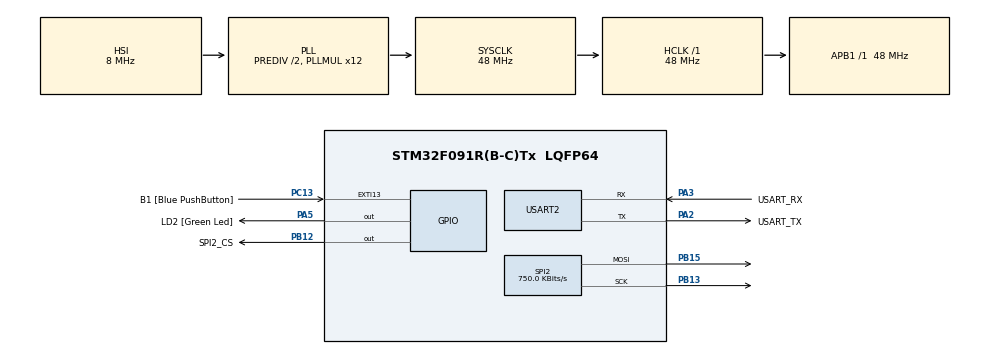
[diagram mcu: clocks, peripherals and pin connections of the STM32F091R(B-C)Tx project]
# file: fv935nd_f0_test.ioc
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Mcu.Family=STM32F0
Mcu.Name=STM32F091R(B-C)Tx
Mcu.Package=LQFP64
NVIC.TIM14_IRQn=true\:0\:0\:false\:false\:true\:true\:true\:true
PA13.GPIO_Label=TMS
PA13.Mode=Serial_Wire
PA13.Signal=SYS_SWDIO
PA14.GPIO_Label=TCK
PA14.Mode=Serial_Wire
PA14.Signal=SYS_SWCLK
PA2.GPIO_Label=USART_TX
PA2.GPIO_Mode=GPIO_MODE_AF_PP
PA2.GPIO_PuPd=GPIO_NOPULL
PA2.GPIO_Speed=GPIO_SPEED_FREQ_LOW
PA2.Mode=Asynchronous
PA2.Signal=USART2_TX
PA3.GPIO_Label=USART_RX
PA3.GPIO_Mode=GPIO_MODE_AF_PP
PA3.GPIO_PuPd=GPIO_NOPULL
PA3.GPIO_Speed=GPIO_SPEED_FREQ_LOW
PA3.Mode=Asynchronous
PA3.Signal=USART2_RX
PA5.GPIO_Label=LD2 [Green Led]
PA5.GPIO_Mode=GPIO_MODE_OUTPUT_PP
PA5.GPIO_PuPd=GPIO_NOPULL
PA5.GPIO_Speed=GPIO_SPEED_FREQ_LOW
PA5.Signal=GPIO_Output
PB12.GPIO_Label=SPI2_CS
PB12.GPIO_Speed=GPIO_SPEED_FREQ_HIGH
PB12.PinState=GPIO_PIN_SET
PB12.Signal=GPIO_Output
PB13.Mode=TX_Only_Simplex_Unidirect_Master
PB13.Signal=SPI2_SCK
PB15.Mode=TX_Only_Simplex_Unidirect_Master
PB15.Signal=SPI2_MOSI
PC13.GPIO_Label=B1 [Blue PushButton]
PC13.GPIO_ModeDefaultEXTI=GPIO_MODE_IT_FALLING
PC13.Signal=GPXTI13
PC14OSC32_IN.Mode=LSE-External-Oscillator
PC14OSC32_IN.Signal=RCC_OSC32_IN
PC15OSC32_OUT.Mode=LSE-External-Oscillator
PC15OSC32_OUT.Signal=RCC_OSC32_OUT
PF0-OSC_IN.Mode=HSE-External-Clock-Source
PF0-OSC_IN.Signal=RCC_OSC_IN
PF1-OSC_OUT.Signal=RCC_OSC_OUT
ProjectManager.HeapSize=0x200
ProjectManager.StackSize=0x400
ProjectManager.TargetToolchain=STM32CubeIDE
RCC.AHBFreq_Value=48000000
RCC.APB1Freq_Value=48000000
RCC.APB1TimFreq_Value=48000000
RCC.FLatency-AdvancedSettings=FLASH_LATENCY_1
RCC.HCLKFreq_Value=48000000
RCC.PLLDivider=RCC_PREDIV_DIV2
RCC.PLLMUL=RCC_PLL_MUL12
RCC.PREFETCH_ENABLE-AdvancedSettings=1
RCC.SYSCLKFreq_VALUE=48000000
RCC.SYSCLKSource=RCC_SYSCLKSOURCE_PLLCLK
SPI2.BaudRatePrescaler=SPI_BAUDRATEPRESCALER_64
SPI2.CLKPhase=SPI_PHASE_2EDGE
SPI2.CLKPolarity=SPI_POLARITY_HIGH
SPI2.CalculateBaudRate=750.0 KBits/s
SPI2.DataSize=SPI_DATASIZE_8BIT
SPI2.Direction=SPI_DIRECTION_2LINES
SPI2.FirstBit=SPI_FIRSTBIT_LSB
SPI2.Mode=SPI_MODE_MASTER
SPI2.VirtualType=VM_MASTER
TIM14.AutoReloadPreload=TIM_AUTORELOAD_PRELOAD_ENABLE
TIM14.Period=53333-1
TIM14.Prescaler=450-1
USART2.VirtualMode=VM_ASYNC
USART2.VirtualMode-Asynchronous=VM_ASYNC
VP_TIM14_VS_ClockSourceINT.Mode=Enable_Timer
board=NUCLEO-F091RC

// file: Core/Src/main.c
/* USER CODE BEGIN Header */
/**
  ******************************************************************************
  * @file           : main.c
  * @brief          : Main program body
  ******************************************************************************
  * @attention
  *
  * Copyright (c) 2024 STMicroelectronics.
  * All rights reserved.
  *
  * This software is licensed under terms that can be found in the LICENSE file
  * in the root directory of this software component.
  * If no LICENSE file comes with this software, it is provided AS-IS.
  *
  ******************************************************************************
  */
/* USER CODE END Header */
#include "main.h"

/* USER CODE BEGIN Includes */
#include <string.h>

#include "cs16312.h"
#include "fv935nd.h"
/* USER CODE END Includes */

/* USER CODE BEGIN PM */
#define SYSTICK_LOAD (SystemCoreClock/1000000U)
#define SYSTICK_DELAY_CALIB (SYSTICK_LOAD >> 1)

#define DELAY_US(us) \
    do { \
         uint32_t start = SysTick->VAL; \
         uint32_t ticks = (us * SYSTICK_LOAD)-SYSTICK_DELAY_CALIB;  \
         while((start - SysTick->VAL) < ticks); \
    } while (0)
/* USER CODE END PM */

SPI_HandleTypeDef hspi2;

TIM_HandleTypeDef htim14;

UART_HandleTypeDef huart2;

/* USER CODE BEGIN PV */
static uint8_t display_buffer[CS16312_RAM_SIZE];
/* USER CODE END PV */

void SystemClock_Config(void);
static void MX_GPIO_Init(void);
static void MX_USART2_UART_Init(void);
static void MX_SPI2_Init(void);
static void MX_TIM14_Init(void);

/* USER CODE BEGIN 0 */
static void vfd_serial_spi2_prepare_write()
{
  DELAY_US(1);
  HAL_GPIO_WritePin(SPI2_CS_GPIO_Port, SPI2_CS_Pin, GPIO_PIN_RESET);
}

static void vfd_serial_spi2_finish_write()
{
  HAL_GPIO_WritePin(SPI2_CS_GPIO_Port, SPI2_CS_Pin, GPIO_PIN_SET);
  DELAY_US(1);
}

static void vfd_serial_spi2_write_byte(uint8_t byte)
{
  HAL_SPI_Transmit(&hspi2, &byte, 1, 2);
}

static const vfd_serial vfd_serial_spi2 = {
    .prepare_write = &vfd_serial_spi2_prepare_write,
    .finish_write = &vfd_serial_spi2_finish_write,
    .write_byte = &vfd_serial_spi2_write_byte,
};

static const vfd_controller cs16312 = {
    .serial = &vfd_serial_spi2,
    .max_digits = CS16312_MAX_DIGS,
    .max_segments = CS16312_MAX_SEGS,
};

static const vfd_display fv935nd = {
    .pinout = &fv935nd_pinout,
    .controller = &cs16312,
    .font = &fv935nd_font,
};
/* USER CODE END 0 */

int main(void)
{

  /* MCU Configuration--------------------------------------------------------*/

  /* Reset of all peripherals, Initializes the Flash interface and the Systick. */
  HAL_Init();

  /* Configure the system clock */
  SystemClock_Config();

  /* USER CODE BEGIN SysInit */
  HAL_Delay(200);
  /* USER CODE END SysInit */

  /* Initialize all configured peripherals */
  MX_GPIO_Init();
  MX_USART2_UART_Init();
  MX_SPI2_Init();
  MX_TIM14_Init();
  /* USER CODE BEGIN 2 */
  HAL_TIM_Base_Start_IT(&htim14);
  vfd_common_init(&cs16312, CS16312_MODE_8_DIG_14SEG);
  /* USER CODE END 2 */

  /* Infinite loop */
  /* USER CODE BEGIN WHILE */
  while (1)
  {
      for (int i = 0; i < 3; i++) {
  	memset(display_buffer, 0xFF, sizeof(display_buffer));
  	vfd_write_data(&cs16312, 0x00, display_buffer, sizeof(display_buffer));
  	HAL_Delay(500);
  	memset(display_buffer, 0x00, sizeof(display_buffer));
  	vfd_write_data(&cs16312, 0x00, display_buffer, sizeof(display_buffer));
  	HAL_Delay(500);
      }
      // t3
      for (int d = 1; d <= fv935nd.pinout->grids_count; d++) {
  	for (int s = 0; s < fv935nd.pinout->segments_count; s++) {
  	    memset(display_buffer, 0, sizeof(display_buffer));
  	    vfd_write_segments(&fv935nd, d, 1 << s, display_buffer, sizeof(display_buffer));
  	    vfd_write_data(&cs16312, 0x00, display_buffer, sizeof(display_buffer));
  	    HAL_Delay(150);
  	}
      }
      // chars
      for (int i = 0; i < fv935nd.font->chars_count; i++) {
  	for (int d = 1; d <= fv935nd.pinout->grids_count; d++) {
  	    vfd_write_char(&fv935nd, d, fv935nd.font->supported_chars[i],
			   display_buffer, sizeof(display_buffer));
  	}
  	vfd_write_data(&cs16312, 0x00, display_buffer, sizeof(display_buffer));
  	HAL_Delay(250);
      }
    /* USER CODE END WHILE */

  }
}

void SystemClock_Config(void)
{
  RCC_OscInitTypeDef RCC_OscInitStruct = {0};
  RCC_ClkInitTypeDef RCC_ClkInitStruct = {0};
  RCC_PeriphCLKInitTypeDef PeriphClkInit = {0};

  /** Initializes the RCC Oscillators according to the specified parameters
  * in the RCC_OscInitTypeDef structure.
  */
  RCC_OscInitStruct.OscillatorType = RCC_OSCILLATORTYPE_HSI;
  RCC_OscInitStruct.HSIState = RCC_HSI_ON;
  RCC_OscInitStruct.HSICalibrationValue = RCC_HSICALIBRATION_DEFAULT;
  RCC_OscInitStruct.PLL.PLLState = RCC_PLL_ON;
  RCC_OscInitStruct.PLL.PLLSource = RCC_PLLSOURCE_HSI;
  RCC_OscInitStruct.PLL.PLLMUL = RCC_PLL_MUL12;
  RCC_OscInitStruct.PLL.PREDIV = RCC_PREDIV_DIV2;
  if (HAL_RCC_OscConfig(&RCC_OscInitStruct) != HAL_OK)
  {
    Error_Handler();
  }

  /** Initializes the CPU, AHB and APB buses clocks
  */
  RCC_ClkInitStruct.ClockType = RCC_CLOCKTYPE_HCLK|RCC_CLOCKTYPE_SYSCLK
                              |RCC_CLOCKTYPE_PCLK1;
  RCC_ClkInitStruct.SYSCLKSource = RCC_SYSCLKSOURCE_PLLCLK;
  RCC_ClkInitStruct.AHBCLKDivider = RCC_SYSCLK_DIV1;
  RCC_ClkInitStruct.APB1CLKDivider = RCC_HCLK_DIV1;

  if (HAL_RCC_ClockConfig(&RCC_ClkInitStruct, FLASH_LATENCY_1) != HAL_OK)
  {
    Error_Handler();
  }
  PeriphClkInit.PeriphClockSelection = RCC_PERIPHCLK_USART2;
  PeriphClkInit.Usart2ClockSelection = RCC_USART2CLKSOURCE_PCLK1;
  if (HAL_RCCEx_PeriphCLKConfig(&PeriphClkInit) != HAL_OK)
  {
    Error_Handler();
  }
}

static void MX_SPI2_Init(void)
{

  /* SPI2 parameter configuration*/
  hspi2.Instance = SPI2;
  hspi2.Init.Mode = SPI_MODE_MASTER;
  hspi2.Init.Direction = SPI_DIRECTION_2LINES;
  hspi2.Init.DataSize = SPI_DATASIZE_8BIT;
  hspi2.Init.CLKPolarity = SPI_POLARITY_HIGH;
  hspi2.Init.CLKPhase = SPI_PHASE_2EDGE;
  hspi2.Init.NSS = SPI_NSS_SOFT;
  hspi2.Init.BaudRatePrescaler = SPI_BAUDRATEPRESCALER_64;
  hspi2.Init.FirstBit = SPI_FIRSTBIT_LSB;
  hspi2.Init.TIMode = SPI_TIMODE_DISABLE;
  hspi2.Init.CRCCalculation = SPI_CRCCALCULATION_DISABLE;
  hspi2.Init.CRCPolynomial = 7;
  hspi2.Init.CRCLength = SPI_CRC_LENGTH_DATASIZE;
  hspi2.Init.NSSPMode = SPI_NSS_PULSE_DISABLE;
  if (HAL_SPI_Init(&hspi2) != HAL_OK)
  {
    Error_Handler();
  }

}

static void MX_TIM14_Init(void)
{

  htim14.Instance = TIM14;
  htim14.Init.Prescaler = 450-1;
  htim14.Init.CounterMode = TIM_COUNTERMODE_UP;
  htim14.Init.Period = 53333-1;
  htim14.Init.ClockDivision = TIM_CLOCKDIVISION_DIV1;
  htim14.Init.AutoReloadPreload = TIM_AUTORELOAD_PRELOAD_ENABLE;
  if (HAL_TIM_Base_Init(&htim14) != HAL_OK)
  {
    Error_Handler();
  }

}

static void MX_USART2_UART_Init(void)
{

  huart2.Instance = USART2;
  huart2.Init.BaudRate = 115200;
  huart2.Init.WordLength = UART_WORDLENGTH_8B;
  huart2.Init.StopBits = UART_STOPBITS_1;
  huart2.Init.Parity = UART_PARITY_NONE;
  huart2.Init.Mode = UART_MODE_TX_RX;
  huart2.Init.HwFlowCtl = UART_HWCONTROL_NONE;
  huart2.Init.OverSampling = UART_OVERSAMPLING_16;
  huart2.Init.OneBitSampling = UART_ONE_BIT_SAMPLE_DISABLE;
  huart2.AdvancedInit.AdvFeatureInit = UART_ADVFEATURE_NO_INIT;
  if (HAL_UART_Init(&huart2) != HAL_OK)
  {
    Error_Handler();
  }

}

static void MX_GPIO_Init(void)
{
  GPIO_InitTypeDef GPIO_InitStruct = {0};

  /* GPIO Ports Clock Enable */
  __HAL_RCC_GPIOC_CLK_ENABLE();
  __HAL_RCC_GPIOF_CLK_ENABLE();
  __HAL_RCC_GPIOA_CLK_ENABLE();
  __HAL_RCC_GPIOB_CLK_ENABLE();

  /*Configure GPIO pin Output Level */
  HAL_GPIO_WritePin(LD2_GPIO_Port, LD2_Pin, GPIO_PIN_RESET);

  /*Configure GPIO pin Output Level */
  HAL_GPIO_WritePin(SPI2_CS_GPIO_Port, SPI2_CS_Pin, GPIO_PIN_SET);

  /*Configure GPIO pin : B1_Pin */
  GPIO_InitStruct.Pin = B1_Pin;
  GPIO_InitStruct.Mode = GPIO_MODE_IT_FALLING;
  GPIO_InitStruct.Pull = GPIO_NOPULL;
  HAL_GPIO_Init(B1_GPIO_Port, &GPIO_InitStruct);

  /*Configure GPIO pin : LD2_Pin */
  GPIO_InitStruct.Pin = LD2_Pin;
  GPIO_InitStruct.Mode = GPIO_MODE_OUTPUT_PP;
  GPIO_InitStruct.Pull = GPIO_NOPULL;
  GPIO_InitStruct.Speed = GPIO_SPEED_FREQ_LOW;
  HAL_GPIO_Init(LD2_GPIO_Port, &GPIO_InitStruct);

  /*Configure GPIO pin : SPI2_CS_Pin */
  GPIO_InitStruct.Pin = SPI2_CS_Pin;
  GPIO_InitStruct.Mode = GPIO_MODE_OUTPUT_PP;
  GPIO_InitStruct.Pull = GPIO_NOPULL;
  GPIO_InitStruct.Speed = GPIO_SPEED_FREQ_HIGH;
  HAL_GPIO_Init(SPI2_CS_GPIO_Port, &GPIO_InitStruct);

}

/* USER CODE BEGIN 4 */
void HAL_TIM_PeriodElapsedCallback(TIM_HandleTypeDef *htim)
{
  HAL_GPIO_TogglePin(LD2_GPIO_Port, LD2_Pin);
}
/* USER CODE END 4 */

void Error_Handler(void)
{
  __disable_irq();
  while (1)
  {
  }
}
